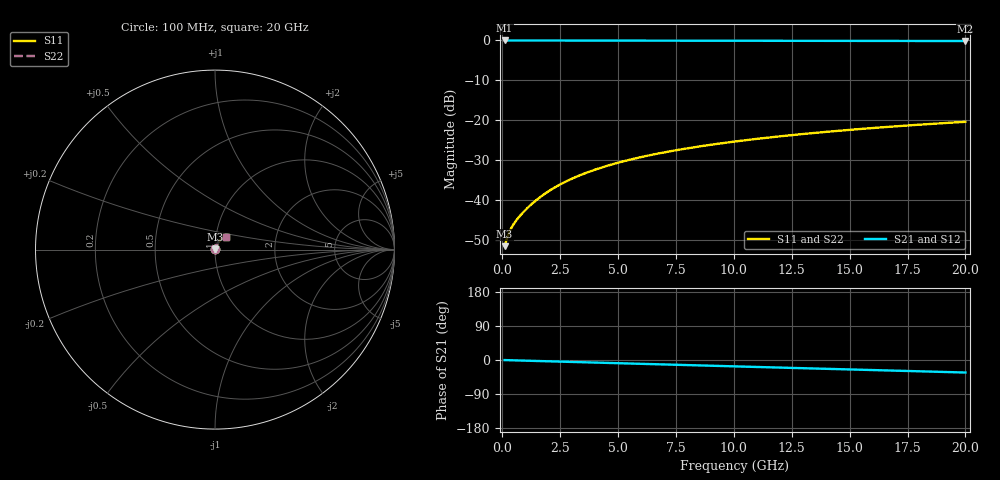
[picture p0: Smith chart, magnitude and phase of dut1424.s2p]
! Touchstone file exported from HFSS 2026.1.0
!  File:  C:/ffzhzh/LocalFiles/Ansys_Project_Files/temp_train_BSMRDL_1424_1783180275_43440.aedt
!  Generated:  11:52:24 PM Jul  4, 2026
!  Design:  BSMRDL
!  Project:  temp_train_BSMRDL_1424_1783180275_43440
! Variables:
!  h_bsmrdl = 3.69um
!  h_ox = 20um
!  h_rdl = 5um
!  h_sub = 80um
!  h_tmrdl = 5um
!  h_tsv = 80um
!  h_via = 3um
!  l_bsmrdl = 571.56um
!  l_sub = 971.56um
!  l_tmrdl = 200um
!  m_sub = 200um
!  pitch = 32.87um
!  r_tsv = 6um
!  s_tmrdl = 10um
!  w_bsmrdl = 25.62um
!  w_sub = 500um
!  w_tmrdl = 12um
!  x_tsv_center1 = 206um
!  x_tsv_center2 = 803.18um
!  x_tsv_center3 = 1015.18um
!  x_tsv_center4 = 1612.36um
!  x_tsv_center5 = 1824.36um
!  x_tsv_center6 = 2421.54um
# GHz S MA R 50.000000
! Terminal data exported
! Port[1] = BSM_RDL1_1_T1
! Port[2] = BSM_RDL1_1_T2
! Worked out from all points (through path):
!   200 points, 100 MHz to 20 GHz, reference 50 ohm
!   highest |S21| = -0.02 dB at 100 MHz (marker M1); lowest = -0.2 dB at 20 GHz (marker M2)
!   group delay of S21, straight-line fit = 4.58 ps
!   lowest |S11| = -51.6 dB at 100 MHz (marker M3), VSWR 1.01, Z = 50.2 + j0.101 ohm
!   |S11| at or under -10 dB: start of sweep to end of sweep
!   |S22| runs from -51.6 to -20.4 dB; largest |S21 - S12| = 4.3e-15
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0.1  0.002626 22.4  0.9976 -0.2  0.9976 -0.2  0.002626 22.4
! Gamma 0 0 0 0
! Port Impedance 50 0 50 0
0.2  0.003277 34.3  0.9973 -0.4  0.9973 -0.4  0.003277 34.3
0.3  0.003924 40.1  0.997 -0.6  0.997 -0.6  0.003923 40.1
0.4  0.004496 43.8  0.9968 -0.7  0.9968 -0.7  0.004495 43.8
0.5  0.005015 46.8  0.9966 -0.9  0.9966 -0.9  0.005014 46.8
0.6  0.005509 49.5  0.9965 -1.1  0.9965 -1.1  0.005506 49.5
0.8  0.006481 54.0  0.9963 -1.4  0.9963 -1.4  0.006479 54.0
1.2  0.008504 60.7  0.9961 -2.1  0.9961 -2.1  0.008501 60.7
1.7  0.01118 65.5  0.9958 -2.9  0.9958 -2.9  0.01118 65.5
2.2  0.01394 68.0  0.9956 -3.8  0.9956 -3.8  0.01394 68.0
2.8  0.01728 69.5  0.9952 -4.8  0.9952 -4.8  0.01728 69.5
3.5  0.02115 70.0  0.9947 -6.0  0.9947 -6.0  0.02115 70.0
4.2  0.02497 69.9  0.9941 -7.2  0.9941 -7.2  0.02497 69.9
5  0.02923 69.3  0.9934 -8.5  0.9934 -8.5  0.02923 69.4
5.9  0.03391 68.4  0.9926 -10.0  0.9926 -10.0  0.0339 68.4
6.8  0.03845 67.3  0.9918 -11.5  0.9918 -11.5  0.03844 67.4
8.3  0.04575 65.3  0.9905 -14.0  0.9905 -14.0  0.04574 65.4
10.1  0.05415 62.9  0.9889 -16.9  0.9889 -16.9  0.05414 63.0
11.7  0.06135 60.7  0.9877 -19.5  0.9877 -19.5  0.06134 60.8
13.4  0.06875 58.3  0.9864 -22.3  0.9864 -22.3  0.06874 58.4
16.7  0.08245 53.6  0.984 -27.7  0.984 -27.7  0.08243 53.8
20  0.09524 48.8  0.9817 -33.1  0.9817 -33.1  0.09522 49.0
